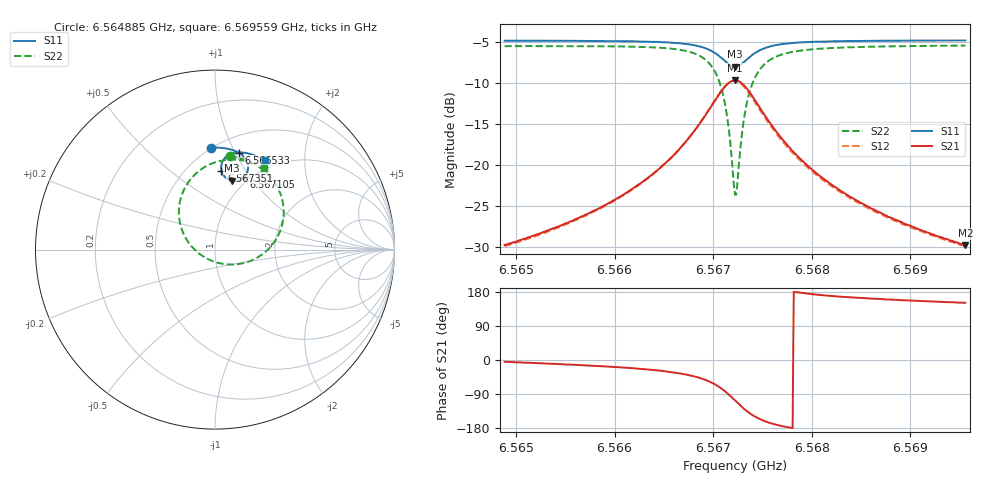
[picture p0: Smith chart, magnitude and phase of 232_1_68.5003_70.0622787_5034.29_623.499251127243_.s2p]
#  HZ  S  RI  R  50.00
! Rohde & Schwarz Vector Network Analyzer
! Rohde-Schwarz,ZNB20-2Port,1311601062101988,3.16
! Created: UTC 3/20/2024, 5:14:05 PM
! freq[Hz]  re:S11  im:S11  re:S21  im:S21  re:S12  im:S12  re:S22  im:S22
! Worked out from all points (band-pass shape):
!   401 points, 6.564885 GHz to 6.569559 GHz, reference 50 ohm
!   highest |S21| = -9.72 dB at 6.567222 GHz (marker M1); lowest = -29.7 dB at 6.569559 GHz (marker M2)
!   |S21| within 3 dB of the highest: 6.56699 GHz to 6.567456 GHz (466.7 kHz wide, 0.00711 % of centre)
!   lowest |S11| = -8.1 dB at 6.567222 GHz (marker M3), VSWR 2.31, Z = 43.4 + j39.5 ohm
!   |S11| at or under -10 dB: nowhere
!   |S22| runs from -23.6 to -5.5 dB; largest |S21 - S12| = 0.017
!   S11 on the Smith chart (normalised r, x): 6.564885 GHz: 0.49, +0.83; 6.566533 GHz: 0.66, +1.04; 6.567105 GHz: 0.94, +0.94; 6.567351 GHz: 0.72, +0.78; 6.569559 GHz: 0.87, +1.29
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6.5648855e9  -0.0215 0.5688  0.0326 -0.0026  0.0319 -0.00319  0.0816 0.5206
6.5656682e9  0.0447 0.5657  0.0473 -0.0116  0.0465 -0.0121  0.162 0.5014
6.5660888e9  0.0842 0.5586  0.0619 -0.0224  0.0611 -0.0233  0.2179 0.4772
6.566451e9  0.1233 0.5446  0.0837 -0.0444  0.0825 -0.0453  0.282 0.432
6.5665328e9  0.1332 0.5393  0.0905 -0.0532  0.0891 -0.0543  0.2998 0.4147
6.5667664e9  0.1638 0.5137  0.1129 -0.0967  0.1112 -0.099  0.3574 0.3291
6.56693e9  0.1826 0.476  0.1217 -0.1635  0.1181 -0.1671  0.3826 0.201
6.5670351e9  0.1811 0.4357  0.1004 -0.2338  0.0936 -0.2387  0.3458 0.0668
6.5671052e9  0.1626 0.4046  0.054 -0.2866  0.0429 -0.29  0.2581 -0.0304
6.5671519e9  0.1392 0.3884  0.00249 -0.3125  -0.0114 -0.313  0.162 -0.0745
6.5671987e9  0.1085 0.382  -0.061 -0.3191  -0.0763 -0.3146  0.0456 -0.08
6.567222e9  0.0923 0.384  -0.0939 -0.3129  -0.1088 -0.3057  -0.0127 -0.0646
6.5672454e9  0.0768 0.3895  -0.125 -0.3002  -0.1385 -0.2903  -0.0662 -0.0377
6.5673038e9  0.0473 0.4148  -0.1843 -0.2478  -0.1925 -0.2339  -0.1628 0.0637
6.5673506e9  0.0362 0.4405  -0.2084 -0.1974  -0.2119 -0.1832  -0.1964 0.1555
6.567444e9  0.0394 0.4851  -0.2099 -0.1113  -0.2078 -0.1005  -0.1845 0.3056
6.5675842e9  0.0671 0.5218  -0.1729 -0.0403  -0.169 -0.0345  -0.1054 0.4245
6.5677478e9  0.0993 0.5375  -0.1328 -0.00703  -0.1293 -0.00378  -0.0227 0.4776
6.5680048e9  0.1384 0.5423  -0.0931 0.0104  -0.0907 0.0118  0.0648 0.5001
6.568367e9  0.1793 0.5368  -0.0634 0.016  -0.0619 0.0167  0.1402 0.4989
6.5687875e9  0.2178 0.5254  -0.0452 0.0167  -0.0441 0.0171  0.1988 0.4862
6.5695586e9  0.2773 0.4987  -0.0285 0.0157  -0.0278 0.016  0.274 0.4551
